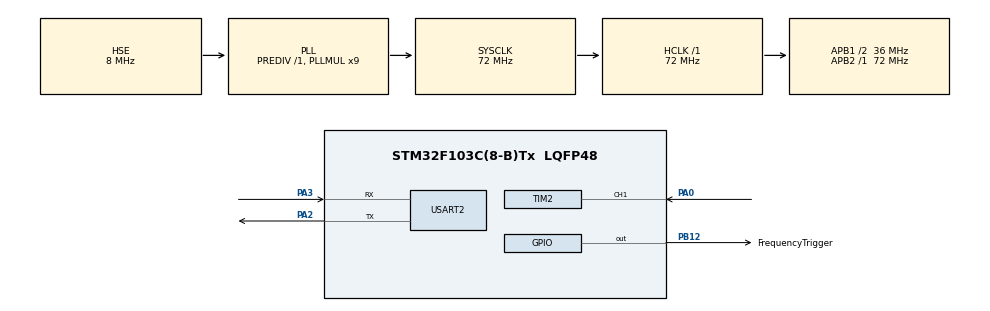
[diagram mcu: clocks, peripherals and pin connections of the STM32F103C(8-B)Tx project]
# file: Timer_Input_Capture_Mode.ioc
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Mcu.Family=STM32F1
Mcu.Name=STM32F103C(8-B)Tx
Mcu.Package=LQFP48
NVIC.PriorityGroup=NVIC_PRIORITYGROUP_4
NVIC.TIM2_IRQn=true\:0\:0\:false\:false\:true\:true\:true\:true
NVIC.TIM3_IRQn=true\:0\:0\:false\:false\:true\:true\:true\:true
PA0-WKUP.Signal=S_TIM2_CH1_ETR
PA13.Mode=Serial_Wire
PA13.Signal=SYS_JTMS-SWDIO
PA14.Mode=Serial_Wire
PA14.Signal=SYS_JTCK-SWCLK
PA2.Mode=Asynchronous
PA2.Signal=USART2_TX
PA3.Mode=Asynchronous
PA3.Signal=USART2_RX
PB12.GPIO_Label=FrequencyTrigger
PB12.Signal=GPIO_Output
PD0-OSC_IN.Mode=HSE-External-Oscillator
PD0-OSC_IN.Signal=RCC_OSC_IN
PD1-OSC_OUT.Mode=HSE-External-Oscillator
PD1-OSC_OUT.Signal=RCC_OSC_OUT
ProjectManager.HeapSize=0x200
ProjectManager.StackSize=0x400
ProjectManager.TargetToolchain=STM32CubeIDE
RCC.AHBFreq_Value=72000000
RCC.APB1CLKDivider=RCC_HCLK_DIV2
RCC.APB1Freq_Value=36000000
RCC.APB1TimFreq_Value=72000000
RCC.APB2Freq_Value=72000000
RCC.APB2TimFreq_Value=72000000
RCC.HCLKFreq_Value=72000000
RCC.PLLMUL=RCC_PLL_MUL9
RCC.PLLSourceVirtual=RCC_PLLSOURCE_HSE
RCC.SYSCLKFreq_VALUE=72000000
RCC.SYSCLKSource=RCC_SYSCLKSOURCE_PLLCLK
RCC.USBFreq_Value=72000000
SH.S_TIM2_CH1_ETR.0=TIM2_CH1,Input_Capture1_from_TI1
TIM2.Channel-Input_Capture1_from_TI1=TIM_CHANNEL_1
TIM2.ICPolarity_CH1=TIM_INPUTCHANNELPOLARITY_RISING
TIM3.Period=7199
TIM3.Prescaler=99
USART2.VirtualMode=VM_ASYNC
VP_TIM2_VS_ClockSourceINT.Mode=Internal
VP_TIM3_VS_ClockSourceINT.Mode=Internal
board=custom

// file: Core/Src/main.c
/* USER CODE BEGIN Header */
/**
  ******************************************************************************
  * @file           : main.c
  * @brief          : Main program body
  ******************************************************************************
  * @attention
  *
  * Copyright (c) 2024 STMicroelectronics.
  * All rights reserved.
  *
  * This software is licensed under terms that can be found in the LICENSE file
  * in the root directory of this software component.
  * If no LICENSE file comes with this software, it is provided AS-IS.
  *
  ******************************************************************************
  */
/* USER CODE END Header */
#include "main.h"

/* USER CODE BEGIN Includes */
#include "stdio.h"
#define IDLE 0
#define DONE 1
#define MCUFREQ 72000000

uint8_t 	pulseState = IDLE;
uint8_t 	overFlowCounter = 0;
uint16_t 	firstPoint = 0;
uint16_t 	secondPoint = 0;
uint32_t 	resultPulseValue = 0;
uint32_t	resultFrequency = 0;

uint8_t		messageBuffer[50] = {'\0'};

/* USER CODE END Includes */

TIM_HandleTypeDef htim2;
TIM_HandleTypeDef htim3;

UART_HandleTypeDef huart2;

void SystemClock_Config(void);
static void MX_GPIO_Init(void);
static void MX_TIM2_Init(void);
static void MX_USART2_UART_Init(void);
static void MX_TIM3_Init(void);

int main(void)
{

  /* MCU Configuration--------------------------------------------------------*/

  /* Reset of all peripherals, Initializes the Flash interface and the Systick. */
  HAL_Init();

  /* Configure the system clock */
  SystemClock_Config();

  /* Initialize all configured peripherals */
  MX_GPIO_Init();
  MX_TIM2_Init();
  MX_USART2_UART_Init();
  MX_TIM3_Init();
  /* USER CODE BEGIN 2 */
  HAL_TIM_Base_Start_IT(&htim2);
  HAL_TIM_Base_Start_IT(&htim3);
  HAL_TIM_IC_Start_IT(&htim2, TIM_CHANNEL_1);

  /* USER CODE END 2 */

  /* Infinite loop */
  while (1)
  {

  }
}

void SystemClock_Config(void)
{
  RCC_OscInitTypeDef RCC_OscInitStruct = {0};
  RCC_ClkInitTypeDef RCC_ClkInitStruct = {0};

  /** Initializes the RCC Oscillators according to the specified parameters
  * in the RCC_OscInitTypeDef structure.
  */
  RCC_OscInitStruct.OscillatorType = RCC_OSCILLATORTYPE_HSE;
  RCC_OscInitStruct.HSEState = RCC_HSE_ON;
  RCC_OscInitStruct.HSEPredivValue = RCC_HSE_PREDIV_DIV1;
  RCC_OscInitStruct.HSIState = RCC_HSI_ON;
  RCC_OscInitStruct.PLL.PLLState = RCC_PLL_ON;
  RCC_OscInitStruct.PLL.PLLSource = RCC_PLLSOURCE_HSE;
  RCC_OscInitStruct.PLL.PLLMUL = RCC_PLL_MUL9;
  if (HAL_RCC_OscConfig(&RCC_OscInitStruct) != HAL_OK)
  {
    Error_Handler();
  }

  /** Initializes the CPU, AHB and APB buses clocks
  */
  RCC_ClkInitStruct.ClockType = RCC_CLOCKTYPE_HCLK|RCC_CLOCKTYPE_SYSCLK
                              |RCC_CLOCKTYPE_PCLK1|RCC_CLOCKTYPE_PCLK2;
  RCC_ClkInitStruct.SYSCLKSource = RCC_SYSCLKSOURCE_PLLCLK;
  RCC_ClkInitStruct.AHBCLKDivider = RCC_SYSCLK_DIV1;
  RCC_ClkInitStruct.APB1CLKDivider = RCC_HCLK_DIV2;
  RCC_ClkInitStruct.APB2CLKDivider = RCC_HCLK_DIV1;

  if (HAL_RCC_ClockConfig(&RCC_ClkInitStruct, FLASH_LATENCY_2) != HAL_OK)
  {
    Error_Handler();
  }
}

static void MX_TIM2_Init(void)
{

  TIM_ClockConfigTypeDef sClockSourceConfig = {0};
  TIM_MasterConfigTypeDef sMasterConfig = {0};
  TIM_IC_InitTypeDef sConfigIC = {0};

  htim2.Instance = TIM2;
  htim2.Init.Prescaler = 0;
  htim2.Init.CounterMode = TIM_COUNTERMODE_UP;
  htim2.Init.Period = 65535;
  htim2.Init.ClockDivision = TIM_CLOCKDIVISION_DIV1;
  htim2.Init.AutoReloadPreload = TIM_AUTORELOAD_PRELOAD_DISABLE;
  if (HAL_TIM_Base_Init(&htim2) != HAL_OK)
  {
    Error_Handler();
  }
  sClockSourceConfig.ClockSource = TIM_CLOCKSOURCE_INTERNAL;
  if (HAL_TIM_ConfigClockSource(&htim2, &sClockSourceConfig) != HAL_OK)
  {
    Error_Handler();
  }
  if (HAL_TIM_IC_Init(&htim2) != HAL_OK)
  {
    Error_Handler();
  }
  sMasterConfig.MasterOutputTrigger = TIM_TRGO_RESET;
  sMasterConfig.MasterSlaveMode = TIM_MASTERSLAVEMODE_DISABLE;
  if (HAL_TIMEx_MasterConfigSynchronization(&htim2, &sMasterConfig) != HAL_OK)
  {
    Error_Handler();
  }
  sConfigIC.ICPolarity = TIM_INPUTCHANNELPOLARITY_RISING;
  sConfigIC.ICSelection = TIM_ICSELECTION_DIRECTTI;
  sConfigIC.ICPrescaler = TIM_ICPSC_DIV1;
  sConfigIC.ICFilter = 0;
  if (HAL_TIM_IC_ConfigChannel(&htim2, &sConfigIC, TIM_CHANNEL_1) != HAL_OK)
  {
    Error_Handler();
  }

}

static void MX_TIM3_Init(void)
{

  TIM_ClockConfigTypeDef sClockSourceConfig = {0};
  TIM_MasterConfigTypeDef sMasterConfig = {0};

  htim3.Instance = TIM3;
  htim3.Init.Prescaler = 99;
  htim3.Init.CounterMode = TIM_COUNTERMODE_UP;
  htim3.Init.Period = 7199;
  htim3.Init.ClockDivision = TIM_CLOCKDIVISION_DIV1;
  htim3.Init.AutoReloadPreload = TIM_AUTORELOAD_PRELOAD_DISABLE;
  if (HAL_TIM_Base_Init(&htim3) != HAL_OK)
  {
    Error_Handler();
  }
  sClockSourceConfig.ClockSource = TIM_CLOCKSOURCE_INTERNAL;
  if (HAL_TIM_ConfigClockSource(&htim3, &sClockSourceConfig) != HAL_OK)
  {
    Error_Handler();
  }
  sMasterConfig.MasterOutputTrigger = TIM_TRGO_RESET;
  sMasterConfig.MasterSlaveMode = TIM_MASTERSLAVEMODE_DISABLE;
  if (HAL_TIMEx_MasterConfigSynchronization(&htim3, &sMasterConfig) != HAL_OK)
  {
    Error_Handler();
  }

}

static void MX_USART2_UART_Init(void)
{

  huart2.Instance = USART2;
  huart2.Init.BaudRate = 115200;
  huart2.Init.WordLength = UART_WORDLENGTH_8B;
  huart2.Init.StopBits = UART_STOPBITS_1;
  huart2.Init.Parity = UART_PARITY_NONE;
  huart2.Init.Mode = UART_MODE_TX_RX;
  huart2.Init.HwFlowCtl = UART_HWCONTROL_NONE;
  huart2.Init.OverSampling = UART_OVERSAMPLING_16;
  if (HAL_UART_Init(&huart2) != HAL_OK)
  {
    Error_Handler();
  }

}

static void MX_GPIO_Init(void)
{
  GPIO_InitTypeDef GPIO_InitStruct = {0};

  /* GPIO Ports Clock Enable */
  __HAL_RCC_GPIOD_CLK_ENABLE();
  __HAL_RCC_GPIOA_CLK_ENABLE();
  __HAL_RCC_GPIOB_CLK_ENABLE();

  /*Configure GPIO pin Output Level */
  HAL_GPIO_WritePin(FrequencyTrigger_GPIO_Port, FrequencyTrigger_Pin, GPIO_PIN_RESET);

  /*Configure GPIO pin : FrequencyTrigger_Pin */
  GPIO_InitStruct.Pin = FrequencyTrigger_Pin;
  GPIO_InitStruct.Mode = GPIO_MODE_OUTPUT_PP;
  GPIO_InitStruct.Pull = GPIO_NOPULL;
  GPIO_InitStruct.Speed = GPIO_SPEED_FREQ_LOW;
  HAL_GPIO_Init(FrequencyTrigger_GPIO_Port, &GPIO_InitStruct);

}

/* USER CODE BEGIN 4 */
void HAL_TIM_IC_CaptureCallback(TIM_HandleTypeDef* htim)
{
	if(pulseState == IDLE)
	{
		firstPoint = TIM2->CCR1;
		overFlowCounter = 0;
		pulseState = DONE;
	}
	else if(pulseState == DONE)
	{
		secondPoint = TIM2->CCR1;
		resultPulseValue = secondPoint + (overFlowCounter*65535) - firstPoint;
		resultFrequency = MCUFREQ / resultPulseValue;

		sprintf(messageBuffer,"Frequency = %lu Hz - Pulse = %lu \n\r",resultFrequency,resultPulseValue);
		HAL_UART_Transmit(&huart2, messageBuffer, sizeof(messageBuffer), 100);

		pulseState = IDLE;
	}
}
void HAL_TIM_PeriodElapsedCallback(TIM_HandleTypeDef* htim)
{
	if(htim->Instance == TIM2)
	{
		overFlowCounter++;
	}
	else if(htim->Instance == TIM3)
	{
		HAL_GPIO_TogglePin(FrequencyTrigger_GPIO_Port, FrequencyTrigger_Pin);
	}
}
/* USER CODE END 4 */

void Error_Handler(void)
{
  __disable_irq();
  while (1)
  {
  }
}
